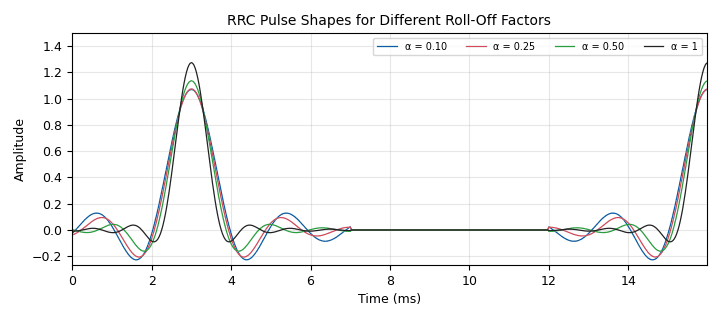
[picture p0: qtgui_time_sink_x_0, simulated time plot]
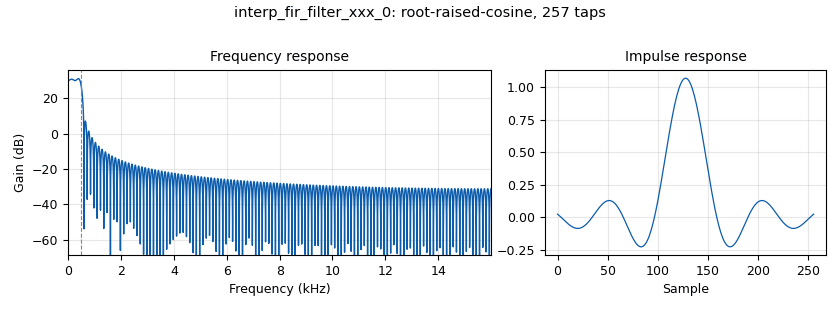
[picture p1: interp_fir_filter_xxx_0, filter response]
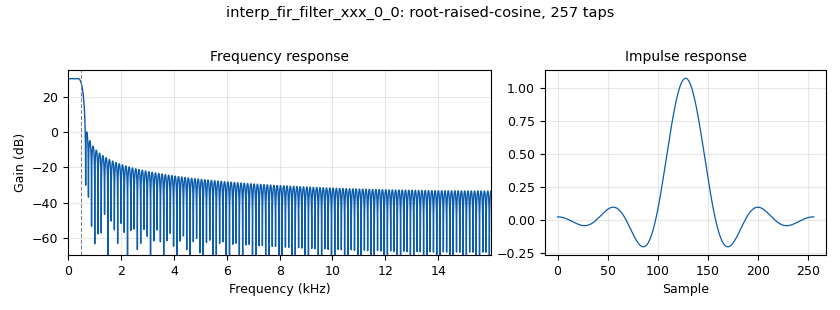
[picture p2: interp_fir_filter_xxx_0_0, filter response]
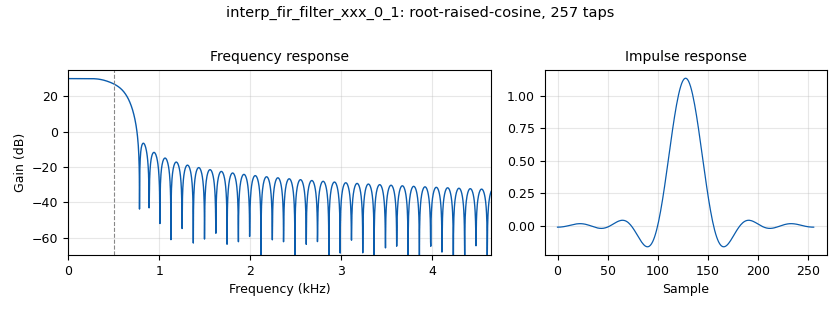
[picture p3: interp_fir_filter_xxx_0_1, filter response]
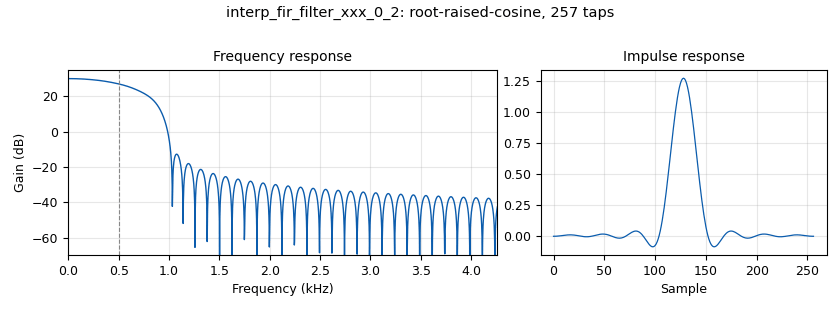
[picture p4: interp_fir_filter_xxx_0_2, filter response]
options:
  parameters:
    author: Dhrubjun
    generate_options: qt_gui
    id: exp6
    output_language: python
    title: RRC Pulse Shape and Roll-Off
  states: {}

blocks:
- name: ntaps
  id: variable
  parameters:
    value: span * sps + 1
  states: {}
- name: samp_rate
  id: variable
  parameters:
    value: '32000'
  states: {}
- name: span
  id: variable
  parameters:
    value: '8'
  states: {}
- name: sps
  id: variable
  parameters:
    value: int(samp_rate / symbol_rate)
  states: {}
- name: symbol_rate
  id: variable
  parameters:
    value: '1000'
  states: {}
- name: blocks_throttle2_0
  id: blocks_throttle2
  parameters:
    samples_per_second: samp_rate
    type: float
  states: {}
- name: blocks_throttle2_0_0
  id: blocks_throttle2
  parameters:
    samples_per_second: samp_rate
    type: float
  states: {}
- name: blocks_throttle2_0_1
  id: blocks_throttle2
  parameters:
    samples_per_second: samp_rate
    type: float
  states: {}
- name: blocks_throttle2_0_2
  id: blocks_throttle2
  parameters:
    samples_per_second: samp_rate
    type: float
  states: {}
- name: blocks_vector_source_x_0
  id: blocks_vector_source_x
  parameters:
    repeat: 'True'
    type: float
    vector: (0, 0, 0, 0, 0, 0, 1, 0, 0, 0, 0, 0, 0)
  states: {}
- name: interp_fir_filter_xxx_0
  id: interp_fir_filter_xxx
  parameters:
    interp: sps
    taps: firdes.root_raised_cosine(sps, samp_rate, symbol_rate, 0.10, ntaps)
    type: fff
  states: {}
- name: interp_fir_filter_xxx_0_0
  id: interp_fir_filter_xxx
  parameters:
    interp: sps
    taps: firdes.root_raised_cosine(sps, samp_rate, symbol_rate, 0.25, ntaps)
    type: fff
  states: {}
- name: interp_fir_filter_xxx_0_1
  id: interp_fir_filter_xxx
  parameters:
    interp: sps
    taps: firdes.root_raised_cosine(sps, samp_rate, symbol_rate, 0.50, ntaps)
    type: fff
  states: {}
- name: interp_fir_filter_xxx_0_2
  id: interp_fir_filter_xxx
  parameters:
    interp: sps
    taps: firdes.root_raised_cosine(sps, samp_rate, symbol_rate, 1, ntaps)
    type: fff
  states: {}
- name: qtgui_freq_sink_x_0
  id: qtgui_freq_sink_x
  parameters:
    average: '0.05'
    bw: samp_rate
    fc: '0'
    fftsize: '1024'
    grid: 'True'
    label1: α = 0.10
    label2: α = 0.25
    label3: α = 0.50
    label4: α = 1
    name: RRC Spectra for Different Roll-Off Factors
    nconnections: '4'
    type: float
    ymax: '5'
  states: {state: disabled}
- name: qtgui_time_sink_x_0
  id: qtgui_time_sink_x
  parameters:
    label1: α = 0.10
    label2: α = 0.25
    label3: α = 0.50
    label4: α = 1
    name: RRC Pulse Shapes for Different Roll-Off Factors
    nconnections: '4'
    size: '512'
    srate: samp_rate
    type: float
    update_time: '2'
    ymax: '1.5'
    ymin: '-0.2'
  states: {}

connections:
- [blocks_throttle2_0, '0', qtgui_freq_sink_x_0, '0']
- [blocks_throttle2_0, '0', qtgui_time_sink_x_0, '0']
- [blocks_throttle2_0_0, '0', qtgui_freq_sink_x_0, '1']
- [blocks_throttle2_0_0, '0', qtgui_time_sink_x_0, '1']
- [blocks_throttle2_0_1, '0', qtgui_freq_sink_x_0, '2']
- [blocks_throttle2_0_1, '0', qtgui_time_sink_x_0, '2']
- [blocks_throttle2_0_2, '0', qtgui_freq_sink_x_0, '3']
- [blocks_throttle2_0_2, '0', qtgui_time_sink_x_0, '3']
- [blocks_vector_source_x_0, '0', interp_fir_filter_xxx_0, '0']
- [blocks_vector_source_x_0, '0', interp_fir_filter_xxx_0_0, '0']
- [blocks_vector_source_x_0, '0', interp_fir_filter_xxx_0_1, '0']
- [blocks_vector_source_x_0, '0', interp_fir_filter_xxx_0_2, '0']
- [interp_fir_filter_xxx_0, '0', blocks_throttle2_0, '0']
- [interp_fir_filter_xxx_0_0, '0', blocks_throttle2_0_0, '0']
- [interp_fir_filter_xxx_0_1, '0', blocks_throttle2_0_1, '0']
- [interp_fir_filter_xxx_0_2, '0', blocks_throttle2_0_2, '0']

metadata:
  file_format: 1
  grc_version: 3.10.12.0
